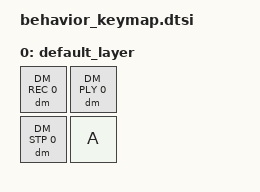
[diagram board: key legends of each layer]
/*
 * Copyright (c) 2022 The ZMK Contributors
 *
 * SPDX-License-Identifier: MIT
 */

#include <dt-bindings/zmk/keys.h>
#include <behaviors.dtsi>
#include <dt-bindings/zmk/kscan_mock.h>
#include <dt-bindings/zmk/dynamic_macro.h>

/ {
    behaviors {
        dm: dynmacro {
            compatible = "zmk,behavior-dynamic-macro";
            #binding-cells = <2>;
            display-name = "Dynamic Macro";
        };
    };

    keymap {
        compatible = "zmk,keymap";

        default_layer {
            bindings = <&dm DM_REC 0 &dm DM_PLY 0
                        &dm DM_STP 0 &kp A>;
        };
    };
};
